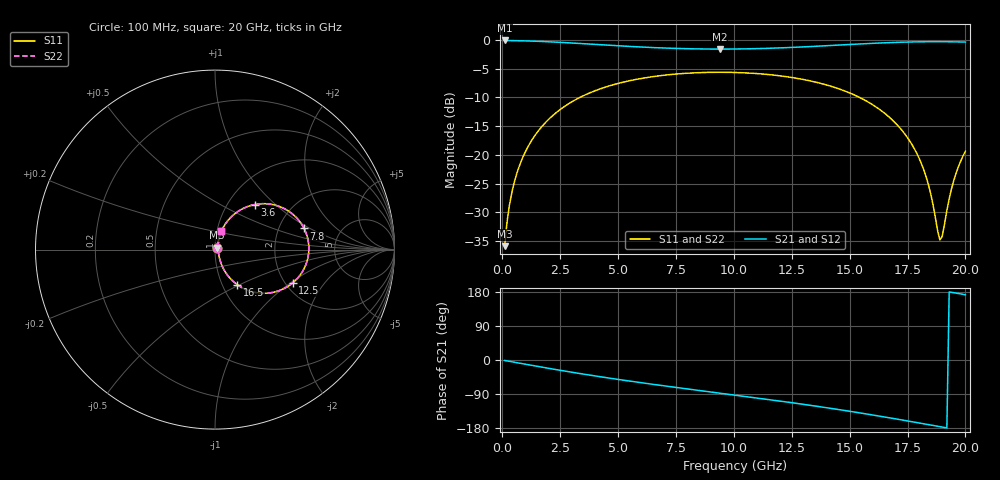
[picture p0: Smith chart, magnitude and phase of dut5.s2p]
! Touchstone file exported from HFSS 2026.1.0
!  File:  C:/ffzhzh/LocalFiles/Ansys_Project_Files/temp_train_TSV_RDL_5_1782960705_45308.aedt
!  Generated:  11:03:05 AM Jul  2, 2026
!  Design:  TSV_RDL
!  Project:  temp_train_TSV_RDL_5_1782960705_45308
! Variables:
!  h_bsmrdl = 5.19um
!  h_ox = 20um
!  h_rdl = 5um
!  h_sub = 71.28um
!  h_tmrdl = 3.61um
!  h_tsv = 71.28um
!  h_via = 3um
!  l_bsmrdl = 322.99um
!  l_sub = 3198.12um
!  l_tmrdl = 417.29um
!  m_sub = 200um
!  pitch = 56.08um
!  r_tsv = 6.4um
!  s_tmrdl = 10um
!  w_bsmrdl = 27.53um
!  w_sub = 500um
!  w_tmrdl = 25.8um
!  x_tsv_center1 = 430.19um
!  x_tsv_center2 = 780.71um
!  x_tsv_center3 = 1223.8um
!  x_tsv_center4 = 1574.32um
!  x_tsv_center5 = 2017.41um
!  x_tsv_center6 = 2367.93um
# GHz S MA R 50.000000
! Terminal data exported
! Port[1] = TM_RDL1_1_T1
! Port[2] = TM_RDL5_1_T1
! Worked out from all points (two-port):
!   200 points, 100 MHz to 20 GHz, reference 50 ohm
!   highest |S21| = -0.10 dB at 100 MHz (marker M1); lowest = -1.6 dB at 9.4 GHz (marker M2)
!   |S21| within 3 dB of the highest: start of sweep to end of sweep
!   lowest |S11| = -35.9 dB at 100 MHz (marker M3), VSWR 1.03, Z = 51.1 + j1.15 ohm
!   |S11| at or under -10 dB: start of sweep to 3.355 GHz; 15.42 GHz to end of sweep
!   |S22| runs from -35.9 to -5.6 dB; largest |S21 - S12| = 1.8e-14
!   S11 on the Smith chart (normalised r, x): 100 MHz: 1.02, +0.02; 3.6 GHz: 1.32, +0.75; 7.8 GHz: 2.76, +0.88; 12.5 GHz: 2.19, -1.04; 16.5 GHz: 1.17, -0.48; 20 GHz: 1.05, +0.22
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0.1  0.01608 44.6  0.9887 -1.2  0.9887 -1.2  0.01608 44.6
! Gamma 0 0 0 0
! Port Impedance 50 0 50 0
0.3  0.03566 66.2  0.987 -3.4  0.987 -3.4  0.03566 66.2
0.5  0.05599 70.6  0.9852 -5.7  0.9852 -5.7  0.05599 70.6
1.1  0.1168 70.6  0.9786 -12.3  0.9786 -12.3  0.1168 70.6
2.1  0.2128 62.7  0.961 -23.0  0.961 -23.0  0.2128 62.7
3.5  0.3268 49.6  0.9269 -37.2  0.9269 -37.2  0.3268 49.6
3.6  0.3339 48.7  0.9243 -38.2  0.9243 -38.2  0.3339 48.7
6.8  0.488 21.2  0.8525 -66.7  0.8525 -66.7  0.4879 21.2
7.8  0.5101 13.4  0.8397 -74.8  0.8397 -74.8  0.5101 13.3
9.4  0.5231 1.0  0.8318 -87.5  0.8318 -87.5  0.5231 1.0
10.1  0.5204 -4.3  0.8333 -93.0  0.8333 -93.0  0.5204 -4.3
12.5  0.4712 -23.2  0.8597 -112.6  0.8597 -112.6  0.4712 -23.2
13.4  0.4354 -30.6  0.8768 -120.5  0.8768 -120.5  0.4354 -30.6
16.5  0.2312 -57.6  0.9432 -150.2  0.9432 -150.2  0.2312 -57.7
16.7  0.214 -59.3  0.9467 -152.3  0.9467 -152.3  0.2139 -59.3
17.5  0.1412 -65.1  0.9579 -160.8  0.9579 -160.8  0.1411 -65.1
18.1  0.08396 -66.3  0.963 -167.2  0.963 -167.2  0.08391 -66.4
18.5  0.04608 -59.9  0.9647 -171.6  0.9647 -171.6  0.04602 -60.0
18.9  0.01823 -5.0  0.9647 -175.9  0.9647 -175.9  0.01813 -5.0
19  0.01957 24.3  0.9645 -177.0  0.9645 -177.0  0.01949 24.5
19.5  0.06002 68.8  0.962 177.6  0.962 177.6  0.06001 68.9
20  0.1076 71.4  0.9573 172.2  0.9573 172.2  0.1076 71.5
